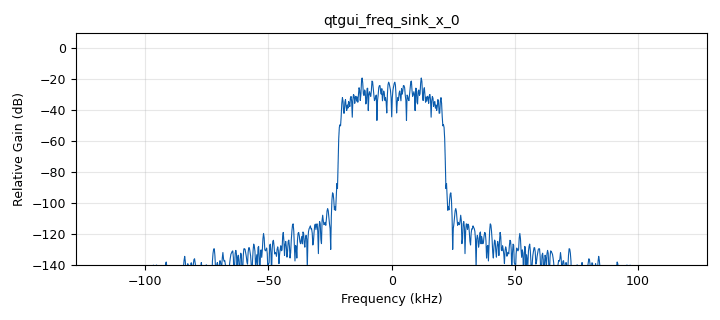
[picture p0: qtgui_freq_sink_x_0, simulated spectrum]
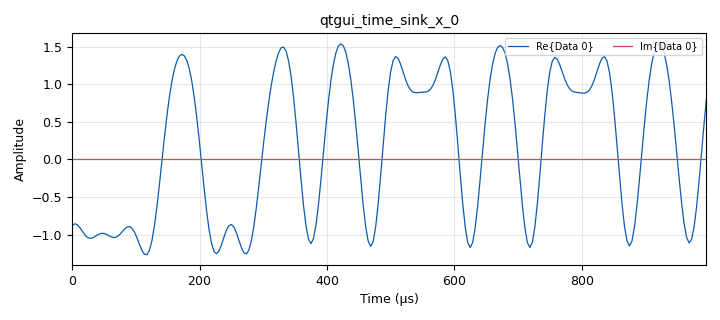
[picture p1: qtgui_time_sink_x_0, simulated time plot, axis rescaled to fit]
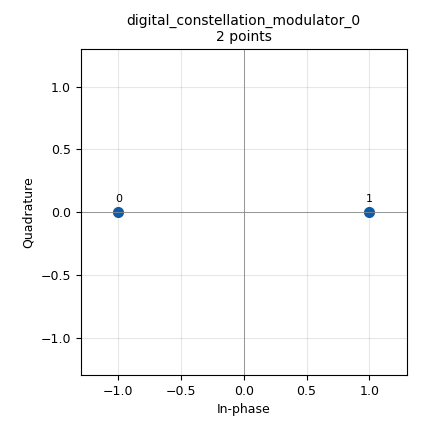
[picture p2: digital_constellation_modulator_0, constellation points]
options:
  parameters:
    generate_options: qt_gui
    id: top_block
    output_language: python
    title: freespace_bpsk_transmitter
  states: {}

blocks:
- name: FB
  id: variable
  parameters:
    value: '32000'
  states: {}
- name: Fs
  id: variable
  parameters:
    value: '256000'
  states: {}
- name: bpsk_const
  id: variable_constellation_rect
  parameters:
    const_points: '[-1, 1]'
    imag_sect: '2'
    real_sect: '2'
    rot_sym: '2'
    sym_map: '[0, 1]'
    w_imag_sect: '1'
    w_real_sect: '1'
  states: {}
- name: fc
  id: variable
  parameters:
    value: '315000000'
  states: {}
- name: fc_Mhz
  id: variable_qtgui_range
  parameters:
    orient: Qt.Horizontal
    start: '300'
    step: '0.1'
    stop: '330'
    value: '315'
  states: {}
- name: samp_per_symbol
  id: variable
  parameters:
    value: '8'
  states: {}
- name: tag1
  id: variable_tag_object
  parameters:
    key: pmt.intern("key")
    offset: '0'
    src: pmt.intern("VecSrc")
    value: pmt.intern("value")
  states: {}
- name: blocks_vector_source_x_0
  id: blocks_vector_source_x
  parameters:
    repeat: 'True'
    tags: '[tag1]'
    type: byte
    vector: list(ord(i) for i in 'Phase modulation is cool')
  states: {}
- name: digital_constellation_modulator_0
  id: digital_constellation_modulator
  parameters:
    constellation: bpsk_const
    differential: 'False'
    excess_bw: '0.35'
    log: 'True'
    samples_per_symbol: samp_per_symbol
    verbose: 'True'
  states: {}
- name: import_0
  id: import
  parameters:
    imports: import numpy as np
  states: {}
- name: limesdr_sink_0_0
  id: limesdr_sink
  parameters:
    allow_tcxo_dac: '0'
    calibr_bandw_ch0: '0'
    calibr_bandw_ch1: '0'
    channel_mode: '0'
    digital_bandw_ch0: 100e3
    digital_bandw_ch1: 100e3
    gain_dB_ch0: '60'
    gain_dB_ch1: '60'
    oversample: '0'
    pa_path_ch1: '1'
    rf_freq: fc
    samp_rate: Fs
    serial: 0009081C05C42112
  states: {}
- name: qtgui_freq_sink_x_0
  id: qtgui_freq_sink_x
  parameters:
    bw: Fs
    fc: '0'
    fftsize: '1024'
    type: complex
    wintype: firdes.WIN_BLACKMAN_hARRIS
  states: {}
- name: qtgui_time_sink_x_0
  id: qtgui_time_sink_x
  parameters:
    size: '256'
    srate: Fs
    type: complex
  states: {}

connections:
- [blocks_vector_source_x_0, '0', digital_constellation_modulator_0, '0']
- [digital_constellation_modulator_0, '0', limesdr_sink_0_0, '0']
- [digital_constellation_modulator_0, '0', qtgui_freq_sink_x_0, '0']
- [digital_constellation_modulator_0, '0', qtgui_time_sink_x_0, '0']

metadata:
  file_format: 1
